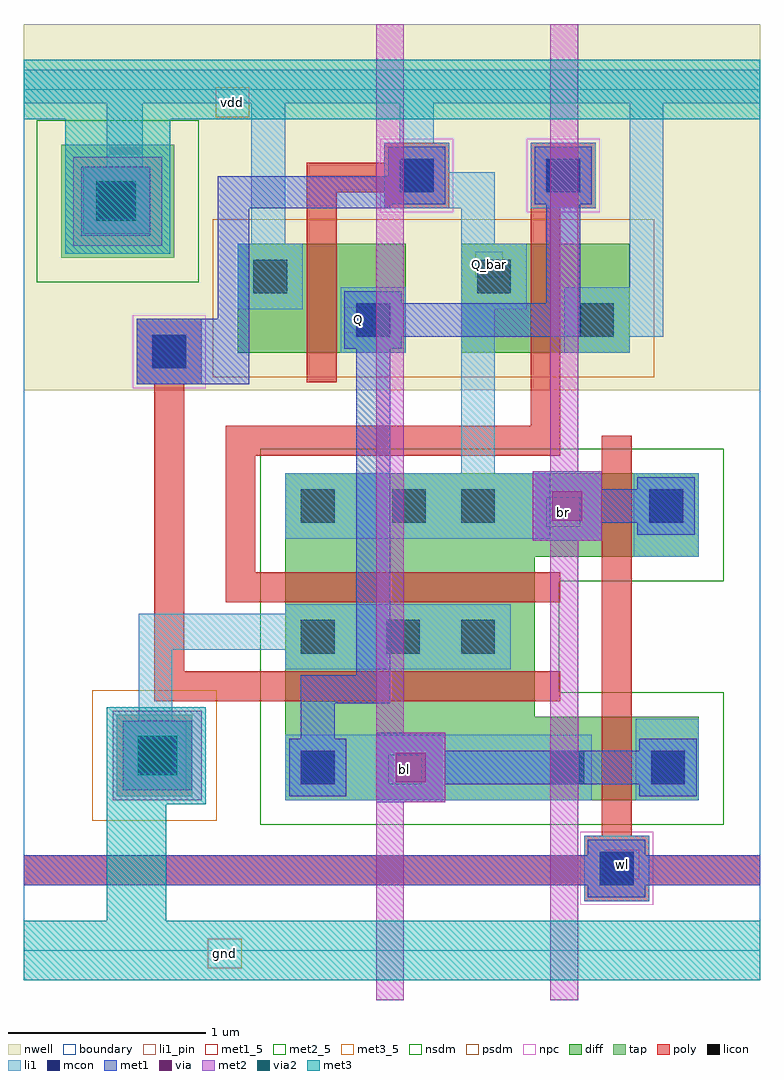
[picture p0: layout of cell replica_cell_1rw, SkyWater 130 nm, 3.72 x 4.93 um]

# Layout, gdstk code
import gdstk
lib = gdstk.Library(unit=1e-6, precision=1e-09)
def R(c, l, rs):  # rectangles x0, y0, x1, y1
    for r in rs: c.add(gdstk.rectangle(r[:2], r[2:], *l))
def A(c, l, x, y, w, h, nx, ny, dx, dy):  # array of equal rectangles
    R(c, l, [(x+i*dx, y+j*dy, x+i*dx+w, y+j*dy+h) for i in range(nx) for j in range(ny)])
nwell = (64, 20)
diff = (65, 20)
tap = (65, 44)
poly = (66, 20)
licon = (66, 44)
li1_pin = (67, 16)
li1 = (67, 20)
mcon = (67, 44)
met1_5 = (68, 5)
met1 = (68, 20)
via = (68, 44)
met2_5 = (69, 5)
met2 = (69, 20)
via2 = (69, 44)
met3_5 = (70, 5)
met3 = (70, 20)
nsdm = (93, 44)
psdm = (94, 20)
npc = (95, 20)
boundary = (235, 4)

replica_cell_1rw = lib.new_cell('replica_cell_1rw')
R(replica_cell_1rw, nwell, [(-0.42,2.83,3.3,4.68)])
R(replica_cell_1rw, diff, [(0.9,0.76,2.99,1.18), (0.9,1.18,2.16,1.99), (0.9,1.99,2.99,2.41), (0.66,3.02,1.51,3.57), (1.79,3.02,2.64,3.57)])
R(replica_cell_1rw, tap, [(0.05,0.78,0.43,1.19), (-0.23,3.5,0.34,4.07)])
R(replica_cell_1rw, poly, [(2.41,0.25,2.74,0.33), (-0.42,0.33,3.3,0.48), (2.41,0.48,2.74,0.58), (2.5,0.58,2.65,2.6), (0.24,1.26,2.29,1.41), (0.24,1.41,0.39,2.86), (0.6,1.76,2.29,1.91), (0.6,1.91,0.75,2.5), (0.6,2.5,2.29,2.65), (2.14,2.65,2.29,3.75), (0.15,2.86,0.48,3.19), (1.01,2.87,1.16,3.83), (1.4,3.75,1.73,3.83), (2.14,3.75,2.47,4.08), (1.01,3.83,1.73,3.98), (1.4,3.98,1.73,4.08)])
A(replica_cell_1rw, licon, 0.98, 0.84, 0.17, 0.17, 1, 3, 0, 0.66)
R(replica_cell_1rw, licon, [(2.49,0.33,2.66,0.5), (2.24,0.84,2.41,1.01), (2.75,0.84,2.92,1.01), (0.16,0.9,0.33,1.07), (1.41,1.5,1.58,1.67), (1.79,1.5,1.96,1.67), (1.44,2.16,1.61,2.33), (1.79,2.16,1.96,2.33), (2.74,2.16,2.91,2.33), (0.23,2.94,0.4,3.11), (1.26,3.1,1.43,3.27), (2.39,3.1,2.56,3.27), (0.74,3.32,0.91,3.49), (1.87,3.32,2.04,3.49), (-0.04,3.7,0.13,3.87), (1.48,3.83,1.65,4), (2.22,3.83,2.39,4)])
R(replica_cell_1rw, li1_pin, [(1.2,3.12,1.34,3.25), (1.86,3.4,2,3.53)])
R(replica_cell_1rw, li1, [(2.41,0.25,2.74,0.58), (0.9,0.76,2.45,1.09), (2.67,0.76,2.99,1.17), (0.08,0.81,0.4,1.16), (0.16,1.16,0.33,1.52), (0.9,1.42,2.04,1.52), (0.16,1.52,2.04,1.7), (0.9,1.7,2.04,1.75), (2.66,1.99,2.99,2.41), (0.9,2.08,2.24,2.41), (1.79,2.41,1.96,3.24), (0.15,2.86,0.48,3.19), (1.18,3.02,1.51,3.35), (2.31,3.02,2.64,3.1), (2.31,3.1,2.81,3.35), (0.66,3.24,0.99,3.57), (1.79,3.24,2.12,3.57), (2.64,3.35,2.81,4.28), (0.73,3.57,0.9,4.28), (1.79,3.57,1.96,3.75), (-0.12,3.62,0.22,3.96), (1.4,3.75,1.96,3.93), (2.14,3.75,2.47,4.08), (1.4,3.93,1.73,4.08), (0,3.96,0.18,4.28), (1.48,4.08,1.65,4.28), (-0.42,4.28,3.3,4.45)])
R(replica_cell_1rw, mcon, [(2.49,0.33,2.66,0.5), (0.98,0.84,1.15,1.01), (2.75,0.84,2.92,1.01), (0.16,0.9,0.33,1.07), (2.74,2.16,2.91,2.33), (0.23,2.94,0.4,3.11), (1.26,3.1,1.43,3.27), (-0.04,3.7,0.13,3.87), (1.48,3.83,1.65,4), (2.22,3.83,2.39,4)])
R(replica_cell_1rw, met1_5, [(2.52,0.36,2.69,0.51)])
R(replica_cell_1rw, met1, [(2.43,0.27,2.72,0.33), (-0.42,0.33,3.3,0.48), (2.43,0.48,2.72,0.56), (1.36,0.75,1.71,0.84), (0.92,0.78,1.21,1.07), (2.69,0.78,2.98,0.84), (0.08,0.81,0.43,1.16), (1.36,0.84,2.98,1.01), (1.36,1.01,1.71,1.1), (2.69,1.01,2.98,1.07), (0.98,1.07,1.15,1.25), (0.98,1.25,1.43,1.39), (1.26,1.39,1.43,3.04), (2.15,2.07,2.5,2.16), (2.68,2.1,2.97,2.16), (2.15,2.16,2.97,2.33), (2.15,2.33,2.5,2.42), (2.68,2.33,2.97,2.39), (0.15,2.86,0.72,3.19), (1.2,3.04,1.49,3.1), (1.2,3.1,2.39,3.27), (0.56,3.19,0.72,3.75), (1.2,3.27,1.49,3.33), (2.22,3.27,2.39,3.77), (-0.13,3.61,0.22,3.96), (0.56,3.75,1.43,3.77), (0.56,3.77,1.71,3.91), (2.16,3.77,2.45,4.06), (1.42,3.91,1.71,4.06)])
R(replica_cell_1rw, via, [(1.46,0.85,1.61,1), (0.18,0.91,0.33,1.06), (2.25,2.17,2.4,2.32)])
R(replica_cell_1rw, met2_5, [(1.42,0.84,1.59,0.99), (2.22,2.14,2.39,2.29)])
R(replica_cell_1rw, met2, [(1.36,-0.25,1.5,0.75), (2.24,-0.25,2.38,2.07), (1.36,0.75,1.71,1.1), (0.03,0.76,0.48,1.21), (1.36,1.1,1.5,4.68), (2.15,2.07,2.5,2.42), (2.24,2.42,2.38,4.68), (-0.17,3.56,0.28,4.01)])
R(replica_cell_1rw, via2, [(0.155,0.885,0.355,1.085), (-0.055,3.685,0.145,3.885)])
R(replica_cell_1rw, met3_5, [(0.51,-0.09,0.68,0.06), (0.55,4.21,0.72,4.36)])
R(replica_cell_1rw, met3, [(-0.42,-0.15,3.3,0.15), (0,0.15,0.3,0.74), (0,0.74,0.5,1.23), (-0.21,3.52,0.32,4.2), (-0.42,4.2,3.3,4.5)])
R(replica_cell_1rw, nsdm, [(0.775,0.635,3.115,1.305), (0.775,1.305,2.285,1.865), (0.775,1.865,3.115,2.535), (-0.355,3.375,0.465,4.195)])
R(replica_cell_1rw, psdm, [(-0.075,0.655,0.555,1.315), (0.535,2.895,2.765,3.695)])
R(replica_cell_1rw, npc, [(2.39,0.23,2.76,0.6), (0.13,2.84,0.5,3.21), (1.38,3.73,1.75,4.1), (2.12,3.73,2.49,4.1)])
R(replica_cell_1rw, boundary, [(-0.42,0,3.3,4.35)])
replica_cell_1rw.add(gdstk.Label('Q_bar', (1.93,3.465), layer=67, texttype=16))
replica_cell_1rw.add(gdstk.Label('Q', (1.27,3.185), layer=67, texttype=16))
replica_cell_1rw.add(gdstk.Label('bl', (1.505,0.915), layer=69, texttype=5))
replica_cell_1rw.add(gdstk.Label('br', (2.305,2.215), layer=69, texttype=5))
replica_cell_1rw.add(gdstk.Label('wl', (2.605,0.435), layer=68, texttype=5))
replica_cell_1rw.add(gdstk.Label('vdd', (0.635,4.285), layer=70, texttype=5))
replica_cell_1rw.add(gdstk.Label('gnd', (0.595,-0.015), layer=70, texttype=5))

lib.write_gds('replica_cell_1rw.gds')
